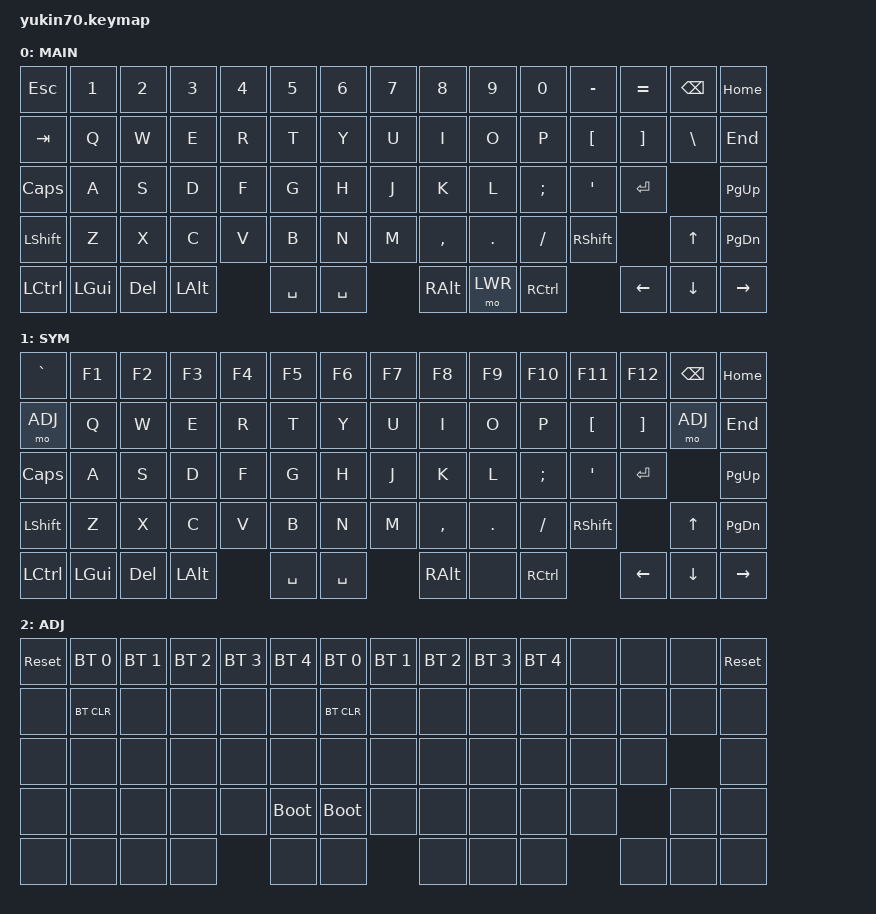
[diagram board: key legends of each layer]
/*
 * Copyright (c) 2022 The ZMK Contributors
 *
 * SPDX-License-Identifier: MIT
 */

#include <behaviors.dtsi>
#include <dt-bindings/zmk/keys.h>
#include <dt-bindings/zmk/bt.h>
#include <dt-bindings/zmk/outputs.h>

#define DEF 0
#define LWR 1
//#define RSE 2
#define ADJ 2

&lt { quick-tap-ms = <200>; };
&mt { quick-tap-ms = <200>; };

/ {
    keymap {
        compatible = "zmk,keymap";

        default_layer {
            display-name = "MAIN";
//   ------------------------------------------------------------------------------------------------------------
//  0|  ESC  |  1  |  2  |  3   |  4   |  5   |                     |  6   |  7    |  8    |  9   |   0   |   -   |   +   |  BKSP | HOME |
// 12|  TAB  |  Q  |  W  |  E   |  R   |  T   |                     |  Y   |  U    |  I    |  O   |   P   |   [   |    ]  |    \  | END  |
// 24|  CASP |  A  |  S  |  D   |  F   |  G   |                     |  H   |  J    |  K    |  L   |   ;   |   '   |       | ENTER | PGUP |
// 38|  SFT  |  Z  |  X  |  C   |  V   |  B   |                     |  N   |  M    |  ,    |  .   |   /   |       |  SFT  |   UP  | PGDN |
// 52   CTRL | GUI | DEL |  ALT |      | SPACE|                     | SPACE|       |  ALT  |  FN   | CTRL |       |  LEFT |  DOWN | RIGHT|
            bindings = <
&kp ESC   &kp N1    &kp N2       &kp N3     &kp N4    &kp N5             &kp N6    &kp N7      &kp N8     &kp N9   &kp N0    &kp MINUS   &kp EQUAL   &kp BSPC   &kp HOME
&kp TAB   &kp Q     &kp W        &kp E      &kp R     &kp T              &kp Y     &kp U       &kp I      &kp O    &kp P     &kp LBKT    &kp RBKT    &kp BSLH   &kp END
&kp CLCK  &kp A     &kp S        &kp D      &kp F     &kp G              &kp H     &kp J       &kp K      &kp L    &kp SEMI  &kp SQT     &kp RET                &kp PG_UP
&kp LSHFT &kp Z     &kp X        &kp C      &kp V     &kp B              &kp N     &kp M       &kp COMMA  &kp DOT  &kp FSLH  &kp RSHFT               &kp UP     &kp PG_DN
&kp LCTRL &kp LGUI  &kp DEL      &kp LALT             &kp SPACE          &kp SPACE             &kp RALT   &mo LWR  &kp RCTRL             &kp LEFT    &kp DOWN   &kp RIGHT
            >;
        };

        lower_layer {
            display-name = "SYM";
//   ------------------------------------------------------------------------------------------------------------
//  0|  ESC  |  1  |  2  |  3   |  4   |  5   |                     |  6   |  7    |  8    |  9   |   0   |   -   |   +   |  BKSP | HOME |
// 12|  TAB  |  Q  |  W  |  E   |  R   |  T   |                     |  Y   |  U    |  I    |  O   |   P   |   [   |    ]  |    \  | END  |
// 24|  CASP |  A  |  S  |  D   |  F   |  G   |                     |  H   |  J    |  K    |  L   |   ;   |   '   |       | ENTER | PGUP |
// 38|  SFT  |  Z  |  X  |  C   |  V   |  B   |                     |  N   |  M    |  ,    |  .   |   /   |       |  SFT  |   UP  | PGDN |
// 52   CTRL | GUI | DEL |  ALT |      | SPACE|                     | SPACE|       |  ALT  |  FN   | CTRL |       |  LEFT |  DOWN | RIGHT|
            bindings = <
&kp GRAVE &kp F1    &kp F2   &kp F3     &kp F4    &kp F5             &kp F6    &kp F7      &kp F8    &kp F9   &kp F10   &kp F11     &kp F12     &kp BSPC   &kp HOME
&mo ADJ   &kp Q     &kp W    &kp E      &kp R     &kp T              &kp Y     &kp U       &kp I     &kp O    &kp P     &kp LBKT    &kp RBKT    &mo ADJ    &kp END
&kp CLCK  &kp A     &kp S    &kp D      &kp F     &kp G              &kp H     &kp J       &kp K     &kp L    &kp SEMI  &kp SQT     &kp RET                &kp PG_UP
&kp LSHFT &kp Z     &kp X    &kp C      &kp V     &kp B              &kp N     &kp M       &kp COMMA &kp DOT  &kp FSLH  &kp RSHFT               &kp UP     &kp PG_DN
&kp LCTRL &kp LGUI  &kp DEL  &kp LALT             &kp SPACE          &kp SPACE             &kp RALT  &none    &kp RCTRL             &kp LEFT    &kp DOWN   &kp RIGHT
            >;
        };

        adjust_layer {
            display-name = "ADJ";
// -----------------------------------------------------------------------------------------
// | RST | BLDR |     |     |     |     |     |   |     |     |     |     |     | BLDR | RST |
//       | BTCLR| BT0 | BT1 | BT2 | BT3 | BT4 |   | BT4 | BT3 | BT2 | BT1 | BT0 | BTCLR|
//       |      |     |     |     |     |     |   |     |     |     |     |     |      |
//                          |     |     |     |   |     |     |     |
        bindings = <
&sys_reset   &bt BT_SEL 0   &bt BT_SEL 1   &bt BT_SEL 2     &bt BT_SEL 3    &bt BT_SEL 4             &bt BT_SEL 0    &bt BT_SEL 1   &bt BT_SEL 2    &bt BT_SEL 3    &bt BT_SEL 4    &none   &none   &none   &sys_reset
&none    &bt BT_CLR     &none          &none            &none           &none                    &bt BT_CLR      &none          &none           &none           &none           &none   &none   &none   &none
&none    &none          &none          &none            &none           &none                    &none           &none          &none           &none           &none           &none   &none           &none
&none    &none          &none          &none            &none           &bootloader              &bootloader     &none          &none           &none           &none           &none           &none   &none
&none    &none          &none          &none                            &none                    &none                          &none           &none           &none                   &none   &none   &none
            >;
        };
    };
};
